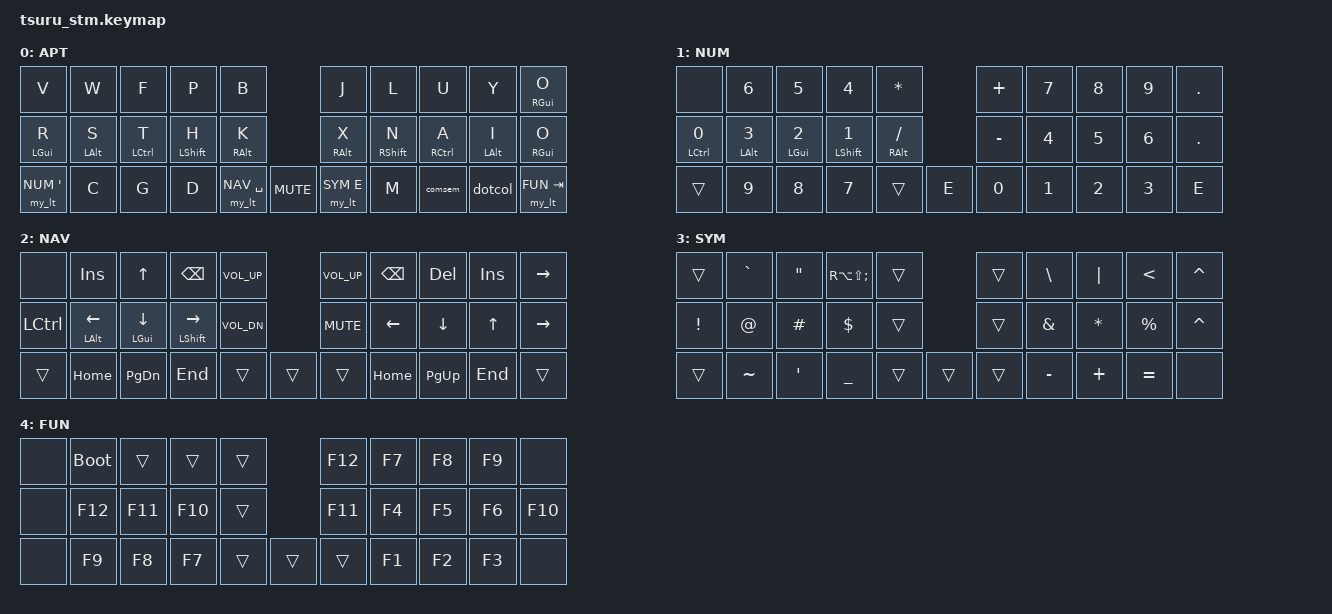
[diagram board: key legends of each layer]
#include <behaviors.dtsi>
#include <dt-bindings/zmk/keys.h>

#define APT 0
#define NUM 1
#define NAV 2
#define SYM 3
#define FUN 4

// &lt {
//     quick_tap_ms = <170>;
// };

&caps_word {
    continue-list = <UNDERSCORE MINUS BSPC LSHFT RSHFT>;
};

/ {
    macros {
        macro_sch: macro_sch {
            label = "Macro_sch";
            compatible = "zmk,behavior-macro";
            #binding-cells = <0>;
            bindings = <
		    &macro_tap &kp S
		    &macro_release &kp RSHIFT
		    &macro_tap &kp C &kp H
	    >;
        };
    };
};


#define COMBO(NAME, BINDINGS, KEYPOS) \
combo_##NAME { \
    timeout-ms = <20>; \
    bindings = <BINDINGS>; \
    key-positions = <KEYPOS>; \
};

//   00  01  02  03  04  05  06  07  08  09
//  10  11  12  13  14    15  16  17  18  19
// 20  21  22  23  24  25  26  27  28  29  30
//--------------------------------------------
//   00   w   f   p   b   j   l   u   y  09
//   r   s   t   h   k     x   n   a   i   o
// 20   c   g   d  SPC 25   e   m   ,   .   /

/ {
    combos {
        compatible = "zmk,combos";
/* usually on base layer */
        COMBO(q, &kp Q, 2 3)
        COMBO(z, &kp Z, 21 22)
        COMBO(v, &kp V, 1 2)
        COMBO(_ae, &kp RA(A), 17 26)
        COMBO(_oe, &kp RA(O), 19 26)
        COMBO(_ue, &kp RA(U), 7 26)
        COMBO(_sz, &kp RA(S), 11 24)
        COMBO(sch, &macro_sch, 1 3)
        COMBO(slash, &kp SLASH, 28 29)
        COMBO(dash, &kp MINUS, 27 28)
        COMBO(enter, &kp ENTER, 27 17)
        COMBO(esc, &kp ESC, 22 23)
/* parentheticals */
        COMBO(lbrc, &kp LBRC, 1 11)
        COMBO(lbkt, &kp LBKT, 2 12)
        COMBO(lpar, &kp LPAR, 3 13)
        COMBO(lt, &kp LT, 4 14)
        COMBO(gt, &kp GT, 5 15)
        COMBO(rpar, &kp RPAR, 6 16)
        COMBO(rbkt, &kp RBKT, 7 17)
        COMBO(rbrc, &kp RBRC, 8 18)
/* caps */
        COMBO(caps, &caps_word, 13 16)
        COMBO(capslock, &kp CAPSLOCK, 1 8)
/* deletion */
        COMBO(bspc, &kp BSPC, 12 13)
        COMBO(del, &kp DEL, 7 8)
        COMBO(delword, &kp LC(BSPC), 16 17)
/* alternative shifting */
        /*
        COMBO(Sq, &kp LS(Q), 1 2 25)
        COMBO(Sz, &kp LS(Z), 18 19 25)
        COMBO(Sv, &kp LS(V), 0 1 25)
        COMBO(Sw, &kp LS(W), 0 25)
        COMBO(Sf, &kp LS(F), 1 25)
        COMBO(Sp, &kp LS(P), 2 25)
        COMBO(Sb, &kp LS(B), 3 25)
        COMBO(Sj, &kp LS(J), 4 26)
        COMBO(Sl, &kp LS(L), 5 26)
        COMBO(Su, &kp LS(U), 6 26)
        COMBO(Sy, &kp LS(Y), 7 26)
        COMBO(Sr, &kp LS(R), 8 25)
        COMBO(Ss, &kp LS(S), 9 25)
        COMBO(St, &kp LS(T), 10 25)
        COMBO(Sh, &kp LS(H), 11 25)
        COMBO(Sk, &kp LS(K), 12 25)
        COMBO(Sx, &kp LS(X), 13 26)
        COMBO(Sn, &kp LS(N), 14 26)
        COMBO(Sa, &kp LS(A), 15 26)
        COMBO(Si, &kp LS(I), 16 26)
        COMBO(So, &kp LS(O), 17 26)
        COMBO(Sc, &kp LS(C), 18 25)
        COMBO(Sg, &kp LS(G), 19 25)
        COMBO(Sd, &kp LS(D), 20 25)
        COMBO(Sm, &kp LS(M), 21 26)
        COMBO(Scomma, &kp SEMI, 22 26)
        COMBO(Sdot, &kp COLON, 23 26)
        COMBO(Se, &kp LS(E), 14 15 26)
        //*/
    };
};

//   00  01  02  03  04  05  06  07  08  09
//  10  11  12  13  14    15  16  17  18  19
// 20  21  22  23  24  25  26  27  28  29  30

/ {

    behaviors {
        hl: homerow_mods_left {
            compatible = "zmk,behavior-hold-tap";
            label = "homerow mods left";
            #binding-cells = <2>;
            // flavor = "tap-preferred";
            flavor = "balanced";
            tapping-term-ms = <150>;
            quick-tap-ms = <100>;
            // global-quick-tap;
            bindings = <&kp>, <&kp>;
            // opposite side hand keys
            hold-trigger-key-positions = <5 6 7 8 9 15 16 17 18 19 25 26 27 28 29 30>;
        };
        hr: homerow_mods_right {
            compatible = "zmk,behavior-hold-tap";
            label = "homerow mods right";
            #binding-cells = <2>;
            // flavor = "tap-preferred";
            flavor = "balanced";
            tapping-term-ms = <150>;
            quick-tap-ms = <100>;
            // global-quick-tap;
            bindings = <&kp>, <&kp>;
            // opposite side hand keys
            hold-trigger-key-positions = <0 1 2 3 4 10 11 12 13 14 20 21 22 23 24 25>;
        };

        my_lt: my_layer_taps {
            compatible = "zmk,behavior-hold-tap";
            label = "my layer taps";
            #binding-cells = <2>;
            // flavor = "tap-preferred";
            flavor = "balanced";
            tapping-term-ms = <150>;
            quick-tap-ms = <100>;
            // global-quick-tap;
            bindings = <&mo &kp>, <&kp>;
            // non-thumb keys
            // hold-trigger-key-positions = <0 1 2 3 4 5 6 7 8 9 10 11 12 13 14 15 16 17 18 19 20 21 22 23>;
        };

        dotcol: dot_colon {
            compatible = "zmk,behavior-mod-morph";
            label = "DOT_COL";
            #binding-cells = <0>;
            bindings = <&kp DOT>, <&kp COLON>;
            mods = <(MOD_LSFT|MOD_RSFT)>;
        };
        comsem: comma_semicolon {
            compatible = "zmk,behavior-mod-morph";
            label = "COM_SEM";
            #binding-cells = <0>;
            bindings = <&kp COMMA>, <&kp SEMI>;
            mods = <(MOD_LSFT|MOD_RSFT)>;
        };
    };
};


//   00  01  02  03  04  05  06  07  08  09
//  10  11  12  13  14    15  16  17  18  19
// 20  21  22  23  24  25  26  27  28  29  30

/ {

    keymap {
        compatible = "zmk,keymap";

        aptmak {
            label = "APT";

            bindings = <
                &kp V          &kp W          &kp F          &kp P          &kp B                         &kp J          &kp L          &kp U          &kp Y          &hr RGUI O
                &hl LGUI R    &hl LALT S     &hl LCTRL T     &hl LSHFT H    &hl RALT K                    &hr RALT X     &hr RSHFT N    &hr RCTRL A     &hr LALT I     &hr RGUI O
                &my_lt NUM SQT &kp C          &kp G          &kp D          &my_lt NAV SPC &kp C_MUTE     &my_lt SYM E   &kp M          &comsem        &dotcol        &my_lt FUN TAB
            >;
        };
        numbers {
            label = "NUM";

            bindings = <
                &none          &kp N6         &kp N5         &kp N4         &kp ASTERISK                  &kp PLUS       &kp N7         &kp N8         &kp N9         &kp DOT
                &hl LCTRL N0   &hl LALT N3    &hl LGUI N2    &hl LSHFT N1   &hl RALT SLASH                &kp MINUS      &kp N4         &kp N5         &kp N6         &kp DOT
                &trans         &kp N9         &kp N8         &kp N7         &trans         &kp E          &kp N0         &kp N1         &kp N2         &kp N3         &kp E
            >;
        };
        navigation {
            label = "NAV";

            bindings = <
                &none          &kp INSERT     &kp UP         &kp BSPC        &kp C_VOL_UP                 &kp C_VOL_UP   &kp BSPC       &kp DEL        &kp INSERT     &kp RIGHT
                &kp LCTRL      &hl LALT LEFT  &hl LGUI DOWN  &hl LSHFT RIGHT &kp C_VOL_DN                 &kp C_MUTE     &kp LEFT       &kp DOWN       &kp UP         &kp RIGHT
                &trans         &kp HOME       &kp PG_DN      &kp END         &trans       &trans          &trans         &kp HOME       &kp PG_UP      &kp END        &trans
            >;
        };
        symbols {
            label = "SYM";

            bindings = <
                &trans         &kp GRAVE      &kp DQT        &kp RA(LS(SEMI)) &trans                      &trans         &kp BACKSLASH  &kp PIPE       &kp LT         &kp CARET
                &kp EXCL       &kp AT         &kp HASH       &kp DOLLAR      &trans                       &trans         &kp AMPERSAND  &kp ASTERISK   &kp PERCENT    &kp CARET
                &trans         &kp TILDE      &kp SQT        &kp UNDERSCORE  &trans       &trans          &trans         &kp MINUS      &kp PLUS       &kp EQUAL      &none
            >;
        };
        function {
            label = "FUN";

            bindings = <
                &none          &bootloader    &trans         &trans          &trans                       &kp F12        &kp F7         &kp F8         &kp F9         &none
                &none          &kp F12        &kp F11        &kp F10         &trans                       &kp F11        &kp F4         &kp F5         &kp F6         &kp F10
                &none          &kp F9         &kp F8         &kp F7          &trans        &trans         &trans         &kp F1         &kp F2         &kp F3         &none
            >;
        };

    };
};
